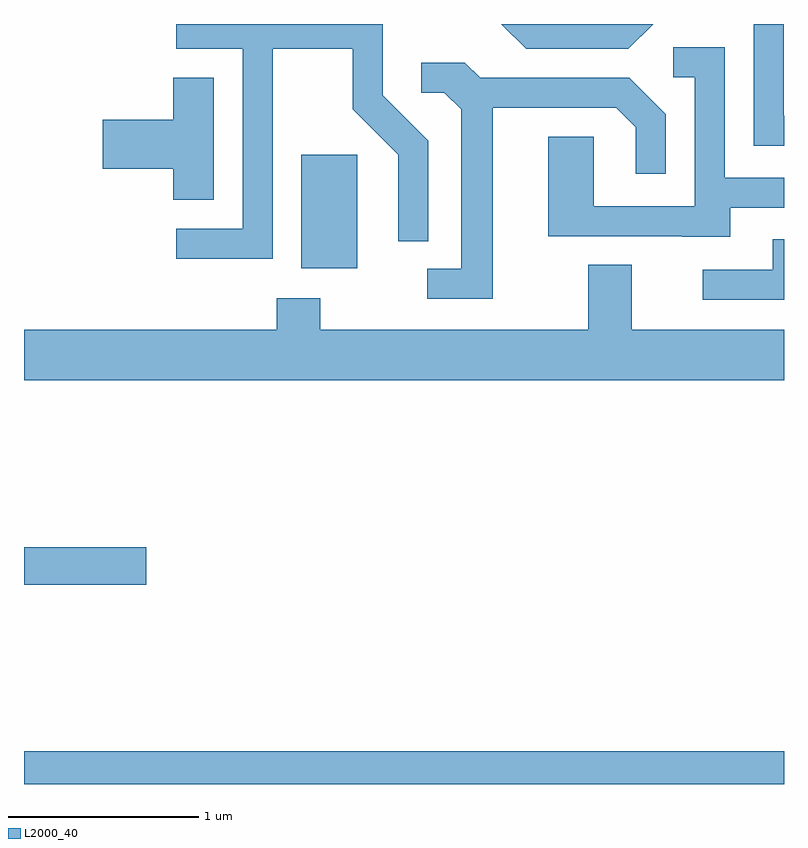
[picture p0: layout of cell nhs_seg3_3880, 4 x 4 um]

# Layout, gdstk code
import gdstk
lib = gdstk.Library(unit=1e-6, precision=1e-09)
def R(c, l, rs):  # rectangles x0, y0, x1, y1
    for r in rs: c.add(gdstk.rectangle(r[:2], r[2:], *l))
def P(c, l, *ps):  # polygons
    for p in ps: c.add(gdstk.Polygon(p, *l))
L2000_40 = (2000, 40)

nhs_seg3_3880 = lib.new_cell('nhs_seg3_3880')
R(nhs_seg3_3880, L2000_40, [(299.611,1123.892,303.611,1124.064), (299.611,1124.941,300.254,1125.139), (301.071,1126.606,301.364,1127.204)])
P(nhs_seg3_3880, L2000_40, [(300.919,1127.761),(301.341,1127.761),(301.341,1127.444),(301.581,1127.204),(301.581,1126.748),(301.739,1126.748),(301.739,1127.277),(301.499,1127.517),(301.499,1127.892),(300.413,1127.892),(300.413,1127.761),(300.761,1127.761),(300.761,1126.814),(300.413,1126.814),(300.413,1126.656),(300.919,1126.656)],
  [(302.923,1127.892),(302.123,1127.892),(302.254,1127.761),(302.792,1127.761)],
  [(303.611,1127.409),(303.609,1127.409),(303.609,1127.892),(303.451,1127.892),(303.451,1127.251),(303.611,1127.251)],
  [(303.329,1126.926),(303.611,1126.926),(303.611,1127.084),(303.299,1127.084),(303.299,1127.769),(303.028,1127.769),(303.028,1127.611),(303.141,1127.611),(303.141,1126.934),(302.609,1126.934),(302.609,1127.299),(302.371,1127.299),(302.371,1126.776),(303.075,1126.776),(303.075,1126.771),(303.329,1126.771)],
  [(302.079,1127.451),(302.729,1127.451),(302.831,1127.349),(302.831,1127.103),(302.989,1127.103),(302.989,1127.417),(302.797,1127.609),(302.012,1127.609),(301.932,1127.689),(301.703,1127.689),(301.703,1127.531),(301.824,1127.531),(301.911,1127.444),(301.911,1126.604),(301.733,1126.604),(301.733,1126.446),(302.079,1126.446)],
  [(300.609,1127.609),(300.396,1127.609),(300.396,1127.389),(300.026,1127.389),(300.026,1127.131),(300.396,1127.131),(300.396,1126.966),(300.609,1126.966)],
  [(303.611,1126.759),(303.551,1126.759),(303.551,1126.599),(303.183,1126.599),(303.183,1126.441),(303.611,1126.441)],
  [(303.611,1126.284),(302.809,1126.284),(302.809,1126.624),(302.581,1126.624),(302.581,1126.284),(301.169,1126.284),(301.169,1126.449),(300.941,1126.449),(300.941,1126.284),(299.611,1126.284),(299.611,1126.016),(303.611,1126.016)])

lib.write_gds('nhs_seg3_3880.gds')
